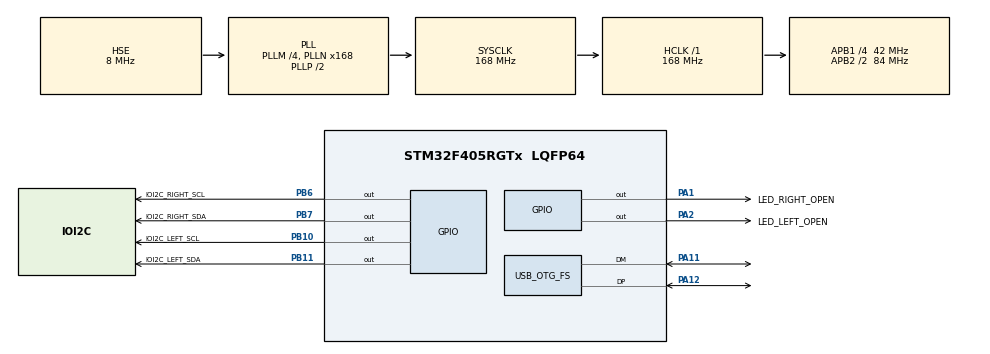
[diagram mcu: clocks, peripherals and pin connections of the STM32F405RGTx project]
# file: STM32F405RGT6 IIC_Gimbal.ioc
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Mcu.Family=STM32F4
Mcu.Name=STM32F405RGTx
Mcu.Package=LQFP64
NVIC.OTG_FS_IRQn=true\:0\:0\:false\:false\:true\:false\:true\:true
NVIC.PriorityGroup=NVIC_PRIORITYGROUP_4
PA1.GPIO_Label=LED_RIGHT_OPEN
PA1.GPIO_Speed=GPIO_SPEED_FREQ_VERY_HIGH
PA1.PinState=GPIO_PIN_SET
PA1.Signal=GPIO_Output
PA11.Mode=Device_Only
PA11.Signal=USB_OTG_FS_DM
PA12.Mode=Device_Only
PA12.Signal=USB_OTG_FS_DP
PA13.Mode=Serial_Wire
PA13.Signal=SYS_JTMS-SWDIO
PA14.Mode=Serial_Wire
PA14.Signal=SYS_JTCK-SWCLK
PA2.GPIO_Label=LED_LEFT_OPEN
PA2.GPIO_Speed=GPIO_SPEED_FREQ_VERY_HIGH
PA2.PinState=GPIO_PIN_SET
PA2.Signal=GPIO_Output
PB10.GPIO_Label=IOI2C_LEFT_SCL
PB10.GPIO_ModeDefaultOutputPP=GPIO_MODE_OUTPUT_OD
PB10.GPIO_PuPd=GPIO_PULLUP
PB10.GPIO_Speed=GPIO_SPEED_FREQ_HIGH
PB10.PinState=GPIO_PIN_SET
PB10.Signal=GPIO_Output
PB11.GPIO_Label=IOI2C_LEFT_SDA
PB11.GPIO_ModeDefaultOutputPP=GPIO_MODE_OUTPUT_OD
PB11.GPIO_PuPd=GPIO_PULLUP
PB11.GPIO_Speed=GPIO_SPEED_FREQ_HIGH
PB11.PinState=GPIO_PIN_SET
PB11.Signal=GPIO_Output
PB6.GPIO_Label=IOI2C_RIGHT_SCL
PB6.GPIO_ModeDefaultOutputPP=GPIO_MODE_OUTPUT_OD
PB6.GPIO_PuPd=GPIO_PULLUP
PB6.GPIO_Speed=GPIO_SPEED_FREQ_HIGH
PB6.PinState=GPIO_PIN_SET
PB6.Signal=GPIO_Output
PB7.GPIO_Label=IOI2C_RIGHT_SDA
PB7.GPIO_ModeDefaultOutputPP=GPIO_MODE_OUTPUT_OD
PB7.GPIO_PuPd=GPIO_PULLUP
PB7.GPIO_Speed=GPIO_SPEED_FREQ_HIGH
PB7.PinState=GPIO_PIN_SET
PB7.Signal=GPIO_Output
PH0-OSC_IN.Mode=HSE-External-Oscillator
PH0-OSC_IN.Signal=RCC_OSC_IN
PH1-OSC_OUT.Mode=HSE-External-Oscillator
PH1-OSC_OUT.Signal=RCC_OSC_OUT
ProjectManager.HeapSize=0x200
ProjectManager.StackSize=0x1000
ProjectManager.TargetToolchain=MDK-ARM V5.27
RCC.48MHZClocksFreq_Value=48000000
RCC.AHBFreq_Value=168000000
RCC.APB1CLKDivider=RCC_HCLK_DIV4
RCC.APB1Freq_Value=42000000
RCC.APB1TimFreq_Value=84000000
RCC.APB2CLKDivider=RCC_HCLK_DIV2
RCC.APB2Freq_Value=84000000
RCC.APB2TimFreq_Value=168000000
RCC.CortexFreq_Value=168000000
RCC.HCLKFreq_Value=168000000
RCC.HSE_VALUE=8000000
RCC.HSI_VALUE=16000000
RCC.LSE_VALUE=32768
RCC.PLLM=4
RCC.PLLN=168
RCC.PLLQ=7
RCC.SYSCLKFreq_VALUE=168000000
RCC.SYSCLKSource=RCC_SYSCLKSOURCE_PLLCLK
RCC.VCOOutputFreq_Value=336000000
USB_DEVICE.CLASS_NAME_FS=CDC
USB_DEVICE.VirtualMode-CDC_FS=Cdc
USB_DEVICE.VirtualModeFS=Cdc_FS
USB_OTG_FS.VirtualMode=Device_Only
VP_USB_DEVICE_VS_USB_DEVICE_CDC_FS.Mode=CDC_FS
board=custom

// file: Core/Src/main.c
/* USER CODE BEGIN Header */
/**
  ******************************************************************************
  * @file           : main.c
  * @brief          : Main program body
  ******************************************************************************
  * @attention
  *
  * Copyright (c) 2025 STMicroelectronics.
  * All rights reserved.
  *
  * This software is licensed under terms that can be found in the LICENSE file
  * in the root directory of this software component.
  * If no LICENSE file comes with this software, it is provided AS-IS.
  *
  ******************************************************************************
  */
/* USER CODE END Header */
#include "main.h"
#include "usb_device.h"
#include "gpio.h"

/* USER CODE BEGIN Includes */
#include <string.h>
#include "Bsp_Gimbal.h"
#include "usbd_cdc_if.h"

/* USER CODE END Includes */

/* USER CODE BEGIN PTD */
extern USBD_HandleTypeDef hUsbDeviceFS;

/* USER CODE END PTD */

void SystemClock_Config(void);

/* USER CODE BEGIN 0 */
gimbal_driver_t*    gimbalL;
gimbal_driver_t*    gimbalR;
uint8_t             printBuf[64];
uint32_t            leftLED_DebugTick = 0;
uint32_t            rightLED_DebugTick = 0;
/* USER CODE END 0 */

int main(void)
{

  /* MCU Configuration--------------------------------------------------------*/

  /* Reset of all peripherals, Initializes the Flash interface and the Systick. */
  HAL_Init();

  /* Configure the system clock */
  SystemClock_Config();

  /* Initialize all configured peripherals */
  MX_GPIO_Init();
  MX_USB_DEVICE_Init();
  /* USER CODE BEGIN 2 */
  uint16_t leftX;
  uint16_t leftY;
  uint16_t rightX;
  uint16_t rightY;
  gimbalL = bspGimbalRegister_L();
  gimbalR = bspGimbalRegister_R();

  /* USER CODE END 2 */

  /* Infinite loop */
  /* USER CODE BEGIN WHILE */
  while (1)
  {
    /* Print data to USB */
    sprintf((char*)printBuf, "%5d,%5d,%5d,%5d\n", leftX, leftY, rightX, rightY);
    CDC_Transmit_FS(printBuf, 25);

    /* Update the channel data of the two joysticks */
    leftX  = gimbalL->_getX();
    leftY  = gimbalL->_getY();
    rightX = gimbalR->_getX();
    rightY = gimbalR->_getY();

    /* Every time an error data is received, the LED will light up for at least 100ms */
    if(leftX>=8192 || leftY>=8192){
        leftLED_DebugTick = HAL_GetTick();
        HAL_GPIO_WritePin(LED_LEFT_OPEN_GPIO_Port,  LED_LEFT_OPEN_Pin,  GPIO_PIN_SET);
    }
    if(rightX>=8192 || rightY>=8192){
        rightLED_DebugTick = HAL_GetTick();
        HAL_GPIO_WritePin(LED_RIGHT_OPEN_GPIO_Port, LED_RIGHT_OPEN_Pin, GPIO_PIN_SET);
    }

    /* If no error occurs within 100 milliseconds, the LED will be turned off */
    if(HAL_GetTick()-leftLED_DebugTick > 100){
        HAL_GPIO_WritePin(LED_LEFT_OPEN_GPIO_Port,  LED_LEFT_OPEN_Pin,  GPIO_PIN_RESET);
    }
    if(HAL_GetTick()-rightLED_DebugTick > 100){
        HAL_GPIO_WritePin(LED_RIGHT_OPEN_GPIO_Port, LED_RIGHT_OPEN_Pin, GPIO_PIN_RESET);
    }

    HAL_Delay(1);
    /* USER CODE END WHILE */

  }
}

void SystemClock_Config(void)
{
  RCC_OscInitTypeDef RCC_OscInitStruct = {0};
  RCC_ClkInitTypeDef RCC_ClkInitStruct = {0};

  /** Configure the main internal regulator output voltage
  */
  __HAL_RCC_PWR_CLK_ENABLE();
  __HAL_PWR_VOLTAGESCALING_CONFIG(PWR_REGULATOR_VOLTAGE_SCALE1);

  /** Initializes the RCC Oscillators according to the specified parameters
  * in the RCC_OscInitTypeDef structure.
  */
  RCC_OscInitStruct.OscillatorType = RCC_OSCILLATORTYPE_HSE;
  RCC_OscInitStruct.HSEState = RCC_HSE_ON;
  RCC_OscInitStruct.PLL.PLLState = RCC_PLL_ON;
  RCC_OscInitStruct.PLL.PLLSource = RCC_PLLSOURCE_HSE;
  RCC_OscInitStruct.PLL.PLLM = 4;
  RCC_OscInitStruct.PLL.PLLN = 168;
  RCC_OscInitStruct.PLL.PLLP = RCC_PLLP_DIV2;
  RCC_OscInitStruct.PLL.PLLQ = 7;
  if (HAL_RCC_OscConfig(&RCC_OscInitStruct) != HAL_OK)
  {
    Error_Handler();
  }

  /** Initializes the CPU, AHB and APB buses clocks
  */
  RCC_ClkInitStruct.ClockType = RCC_CLOCKTYPE_HCLK|RCC_CLOCKTYPE_SYSCLK
                              |RCC_CLOCKTYPE_PCLK1|RCC_CLOCKTYPE_PCLK2;
  RCC_ClkInitStruct.SYSCLKSource = RCC_SYSCLKSOURCE_PLLCLK;
  RCC_ClkInitStruct.AHBCLKDivider = RCC_SYSCLK_DIV1;
  RCC_ClkInitStruct.APB1CLKDivider = RCC_HCLK_DIV4;
  RCC_ClkInitStruct.APB2CLKDivider = RCC_HCLK_DIV2;

  if (HAL_RCC_ClockConfig(&RCC_ClkInitStruct, FLASH_LATENCY_5) != HAL_OK)
  {
    Error_Handler();
  }
}

void Error_Handler(void)
{
  __disable_irq();
  while (1)
  {
  }
}
